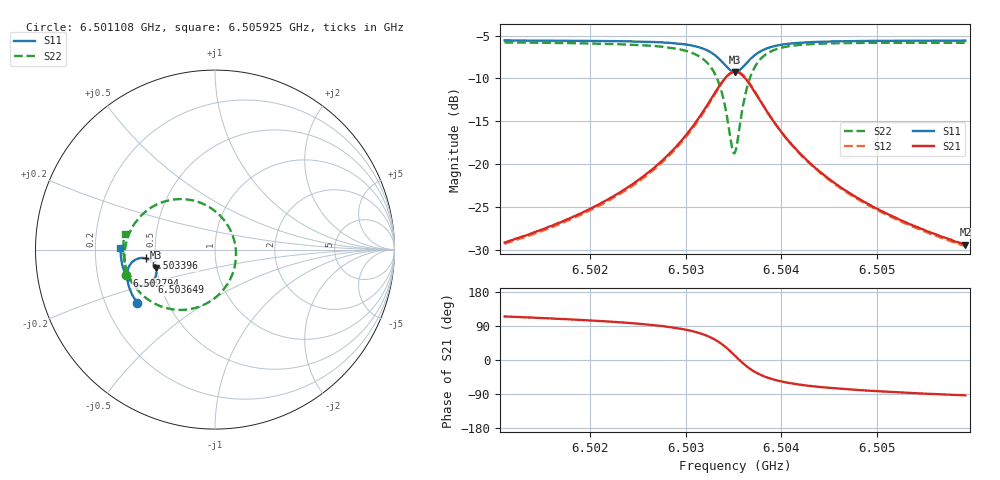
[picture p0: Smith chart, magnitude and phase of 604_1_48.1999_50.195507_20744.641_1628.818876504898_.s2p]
#  HZ  S  RI  R  50.00
! Rohde & Schwarz Vector Network Analyzer
! Rohde-Schwarz,ZNB20-2Port,1311601062101988,3.16
! Created: UTC 3/20/2024, 12:03:07 PM
! freq[Hz]  re:S11  im:S11  re:S21  im:S21  re:S12  im:S12  re:S22  im:S22
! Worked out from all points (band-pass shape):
!   401 points, 6.501108 GHz to 6.505925 GHz, reference 50 ohm
!   highest |S21| = -9.22 dB at 6.503516 GHz (marker M1); lowest = -29.4 dB at 6.505925 GHz (marker M2)
!   |S21| within 3 dB of the highest: 6.503276 GHz to 6.503757 GHz (481.3 kHz wide, 0.0074 % of centre)
!   lowest |S11| = -9.2 dB at 6.503516 GHz (marker M3), VSWR 2.05, Z = 24.8 - j5.69 ohm
!   |S11| at or under -10 dB: nowhere
!   |S22| runs from -18.7 to -5.8 dB; largest |S21 - S12| = 0.012
!   S11 on the Smith chart (normalised r, x): 6.501108 GHz: 0.34, -0.28; 6.502794 GHz: 0.33, -0.13; 6.503396 GHz: 0.44, -0.05; 6.503649 GHz: 0.45, -0.19; 6.505925 GHz: 0.31, +0.01
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6.501108e9  -0.4334 -0.3  -0.0147 0.0317  -0.0132 0.0317  -0.4935 -0.1416
6.5019148e9  -0.4671 -0.239  -0.0139 0.0501  -0.0115 0.0496  -0.5043 -0.0532
6.5023965e9  -0.4832 -0.1947  -0.0101 0.0726  -0.00709 0.0714  -0.4987 0.0189
6.5027216e9  -0.4899 -0.1569  -0.00111 0.1008  0.00264 0.0985  -0.4783 0.0883
6.5027939e9  -0.4904 -0.1469  0.0031 0.1099  0.0067 0.1072  -0.4694 0.108
6.5029986e9  -0.4864 -0.1135  0.0249 0.1441  0.0284 0.1399  -0.4238 0.1758
6.5031551e9  -0.4712 -0.0811  0.0651 0.1809  0.0678 0.1751  -0.3459 0.24
6.5032997e9  -0.4325 -0.0514  0.1484 0.2099  0.149 0.204  -0.1941 0.2815
6.503396e9  -0.385 -0.0488  0.2415 0.1931  0.2416 0.1888  -0.0328 0.2377
6.5034803e9  -0.341 -0.0786  0.3214 0.1169  0.3242 0.1131  0.095 0.0877
6.5035164e9  -0.3299 -0.1013  0.3395 0.0671  0.3434 0.0621  0.1164 -0.00592
6.5035405e9  -0.3267 -0.118  0.343 0.0318  0.3474 0.0253  0.114 -0.0709
6.5035766e9  -0.3289 -0.1427  0.3355 -0.0196  0.3397 -0.0283  0.0862 -0.1618
6.5036489e9  -0.3518 -0.1808  0.2876 -0.0977  0.2882 -0.1092  -0.0265 -0.2882
6.503697e9  -0.3727 -0.1948  0.2466 -0.1272  0.2443 -0.1385  -0.1123 -0.3257
6.5037572e9  -0.3983 -0.2018  0.1985 -0.1439  0.1935 -0.1539  -0.207 -0.336
6.5039138e9  -0.4466 -0.1924  0.1129 -0.1397  0.1058 -0.145  -0.3613 -0.2862
6.5040824e9  -0.4749 -0.1708  0.0663 -0.1181  0.06 -0.1206  -0.4365 -0.2183
6.5043232e9  -0.4961 -0.1411  0.0352 -0.0922  0.0303 -0.0928  -0.4812 -0.1438
6.5046965e9  -0.5122 -0.101  0.0149 -0.0672  0.0118 -0.0667  -0.5047 -0.0657
6.50513e9  -0.5213 -0.0602  0.00539 -0.0503  0.00298 -0.0497  -0.5109 -0.00193
6.5059248e9  -0.5265 0.0078  -0.00204 -0.0339  -0.00335 -0.0331  -0.5038 0.0848
